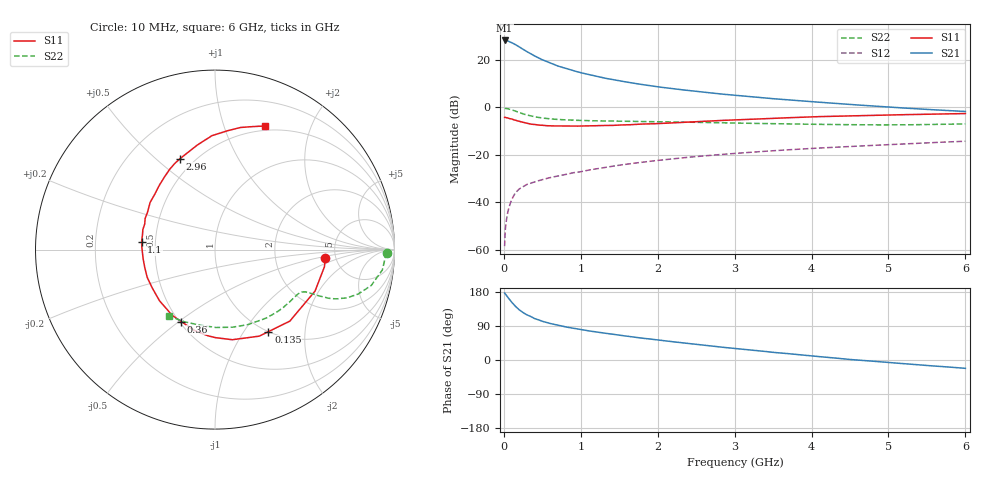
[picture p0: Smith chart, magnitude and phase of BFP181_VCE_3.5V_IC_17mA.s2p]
! Infineon Technologies  Discrete & RF Semiconductors
! BFP181
! VCE = 3.5 V,  IC =  17 mA
! Common Emitter S-Parameters:  Jan 2016
# GHz  S  MA  R  50
!  f  S11  S21  S12  S22
! GHz  MAG  ANG  MAG  ANG  MAG  ANG  MAG  ANG
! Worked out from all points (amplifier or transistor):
!   210 points, 10 MHz to 6 GHz, reference 50 ohm
!   highest |S21| = 28.2 dB at 10 MHz (marker M1)
!   |S21| within 3 dB of that: start of sweep to 214.6 MHz
!   unconditionally stable (mu >= 1): 679.8 MHz to end of sweep
!   at 185 MHz: K = 0.42, MSG = 30.3 dB, |S12| = -34.8 dB
!   at 1.52 GHz: K = 1.26, MAG = 14.6 dB, |S12| = -24.2 dB
!   at 6 GHz: K = 1.03, MAG = 5.3 dB, |S12| = -14.2 dB
!   S11 on the Smith chart (normalised r, x): 10 MHz: 4.10, -0.65; 135 MHz: 1.00, -1.30; 360 MHz: 0.51, -0.51; 1.1 GHz: 0.42, +0.04; 2.96 GHz: 0.42, +0.60; 6 GHz: 0.45, +1.38
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0.01  0.6158 -4.6  25.66 176.8  0.0012 85.5  0.9558 -1.0
0.05  0.6034 -22.5  25.16 165.8  0.0061 83.0  0.9395 -6.9
0.1  0.5767 -43.7  23.21 153.0  0.0112 70.5  0.8935 -12.9
0.135  0.5455 -56.9  21.61 145.3  0.0145 66.1  0.8525 -15.8
0.15  0.5416 -62.9  21.06 141.6  0.0159 64.8  0.8357 -17.2
0.2  0.5113 -79.1  18.82 132.4  0.0192 59.9  0.7802 -20.2
0.24  0.4907 -89.6  17.08 126.6  0.021 57.9  0.7404 -21.7
0.3  0.4653 -104.1  14.93 119.1  0.0239 55.1  0.6925 -23.1
0.36  0.4427 -115.1  13.2 113.7  0.0258 53.8  0.6575 -23.6
0.4  0.4373 -122.9  12.12 109.3  0.027 53.0  0.6342 -24.0
0.5  0.4206 -137.3  10.06 102.1  0.0302 51.4  0.5973 -24.4
0.6  0.4096 -148.9  8.654 96.5  0.0333 53.1  0.5742 -24.7
0.8  0.4038 -166.0  6.64 87.4  0.0385 53.8  0.547 -25.5
1.02  0.407 179.0  5.282 79.6  0.045 54.9  0.5303 -27.1
1.1  0.4113 174.3  4.932 76.9  0.0479 54.8  0.5255 -27.8
1.5  0.4263 155.9  3.634 65.4  0.0609 54.7  0.5123 -32.4
2.02  0.4576 136.7  2.69 52.5  0.0772 53.0  0.4995 -39.8
2.96  0.5425 111.0  1.824 31.3  0.1062 47.0  0.4706 -55.8
3.1  0.5533 107.8  1.74 28.6  0.1104 46.0  0.4655 -58.4
4.1  0.64 90.0  1.286 8.9  0.1396 38.3  0.4398 -79.6
5.1  0.6988 77.2  0.994 -8.1  0.1673 30.7  0.4293 -103.3
6  0.7425 68.0  0.821 -22.0  0.194 23.3  0.4505 -124.9
